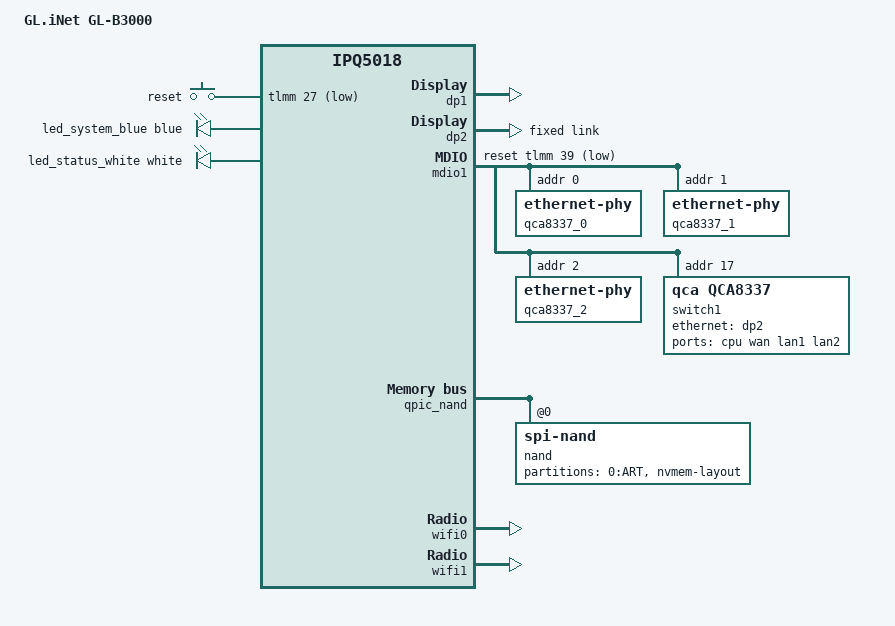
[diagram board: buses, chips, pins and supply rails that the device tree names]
// SPDX-License-Identifier: GPL-2.0-or-later OR MIT

/dts-v1/;

#include "ipq5018.dtsi"
#include "ipq5018-ess.dtsi"
#include "ipq5018-nss.dtsi"
#include "ipq5018-common.dtsi"

#include <dt-bindings/gpio/gpio.h>
#include <dt-bindings/input/input.h>
#include <dt-bindings/leds/common.h>

/ {
	model = "GL.iNet GL-B3000";
	compatible ="glinet,gl-b3000", "qcom,ipq5018";

	aliases {
		ethernet1 = &dp2;
		label-mac-device = &dp2;
		led-boot = &led_system_blue;
		led-failsafe = &led_status_white;
		led-running = &led_status_white;
		led-upgrade = &led_system_blue;
		serial0 = &blsp1_uart1;
	};

	chosen {
		stdout-path = "serial0:115200n8";
		bootargs-append = " root=/dev/ubiblock0_1";
	};

	keys {
		compatible = "gpio-keys";
		pinctrl-0 = <&button_pins>;
		pinctrl-names = "default";

		button_reset {
			label = "reset";
			gpios = <&tlmm 27 GPIO_ACTIVE_LOW>;
			linux,code = <KEY_RESTART>;
		};
	};

	leds {
		compatible = "gpio-leds";
		pinctrl-0 = <&leds_pins>;
		pinctrl-names = "default";

		led_system_blue: system-blue {
			color = <LED_COLOR_ID_BLUE>;
			function = LED_FUNCTION_POWER;
			gpio = <&tlmm 24 GPIO_ACTIVE_HIGH>;
			default-state = "on";
		};

		led_status_white: status-white {
			color = <LED_COLOR_ID_WHITE>;
			function = LED_FUNCTION_POWER;
			gpio = <&tlmm 23 GPIO_ACTIVE_HIGH>;
			default-state = "off";
		};
	};
};

&dp1 {
	status = "okay";
};

&dp2 {
	status = "okay";
	nvmem-cells = <&macaddr_dp2>;
	nvmem-cell-names = "mac-address";

	fixed-link {
		speed = <1000>;
		full-duplex;
	};
};

&mdio1 {
	status = "okay";

	pinctrl-0 = <&mdio1_pins>;
	pinctrl-names = "default";
	reset-gpios = <&tlmm 39 GPIO_ACTIVE_LOW>;

	qca8337_0: ethernet-phy@0 {
		reg = <0>;
	};

	qca8337_1: ethernet-phy@1 {
		reg = <1>;
	};

	qca8337_2: ethernet-phy@2 {
		reg = <2>;
	};

	switch1: ethernet-switch@17 {
		compatible = "qca,qca8337";
		reg = <17>;
		#address-cells = <1>;
		#size-cells = <0>;

		ports {
			port@0 {
				reg = <0>;
				label = "cpu";
				phy-mode = "sgmii";
				ethernet = <&dp2>;
				qca,sgmii-enable-pll;

				fixed-link {
					speed = <1000>;
					full-duplex;
				};
			};

			port@1 {
				reg = <1>;
				label = "wan";
				phy-handle = <&qca8337_0>;
			};

			port@2 {
				reg = <2>;
				label = "lan1";
				phy-handle = <&qca8337_1>;

				nvmem-cells = <&macaddr_dp2 2>;
				nvmem-cell-names = "mac-address";
			};

			port@3 {
				reg = <3>;
				label = "lan2";
				phy-handle = <&qca8337_2>;

				nvmem-cells = <&macaddr_dp2 2>;
				nvmem-cell-names = "mac-address";
			};
		};
	};
};

&qpic_nand {
	pinctrl-0 = <&qpic_pins>;
	pinctrl-names = "default";
	status = "okay";

	nand@0 {
		compatible = "spi-nand";
		#address-cells = <1>;
		#size-cells = <1>;
		reg = <0>;

		nand-ecc-engine = <&qpic_nand>;
		nand-ecc-strength = <4>;
		nand-ecc-step-size = <512>;
		nand-bus-width = <8>;

		partitions {
			compatible = "qcom,smem-part";

			partition-0-art {
				compatible = "fixed-partitions";
				label = "0:ART";
				read-only;

				nvmem-layout {
					compatible = "fixed-layout";

					macaddr_dp2: macaddr@0 {
						compatible = "mac-base";
						#nvmem-cell-cells = <1>;
						reg = <0x00 0x06>;
					};
				};
			};
		};
	};
};

&tlmm {
	leds_pins: leds-pins {
		pins = "gpio23", "gpio24";
		function = "gpio";
		drive-strength = <8>;
		bias-pull-down;
	};

	button_pins: button-pins {
		pins = "gpio27";
		function = "gpio";
		drive-strength = <8>;
		bias-pull-up;
	};
};

&wifi0 {
	// IPQ5018
	status = "okay";
	qcom,ath11k-calibration-variant = "GL-iNet-GL-B3000";
};

&wifi1 {
	// QCN6102 5G
	status = "okay";
	qcom,rproc = <&q6_wcss_pd2>;
	qcom,userpd-subsys-name = "q6v5_wcss_userpd2";
	qcom,ath11k-calibration-variant = "GL-iNet-GL-B3000";
};
